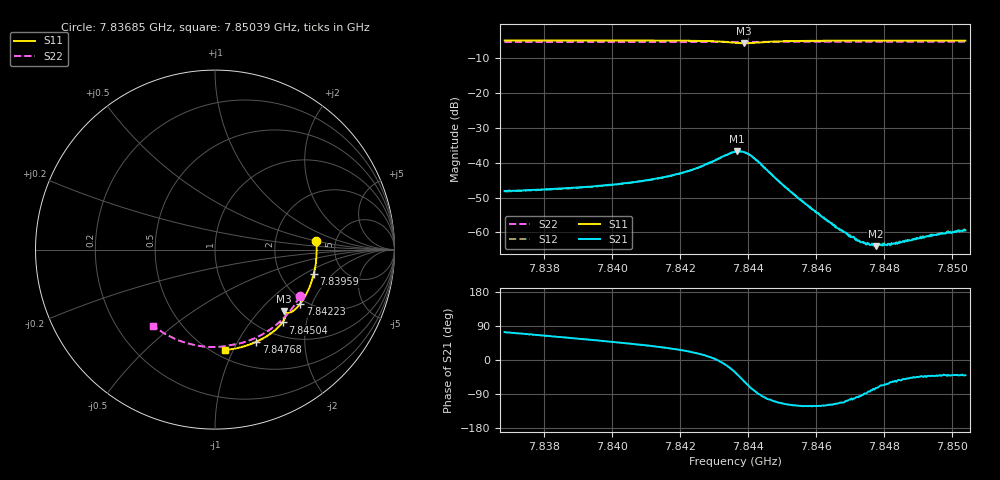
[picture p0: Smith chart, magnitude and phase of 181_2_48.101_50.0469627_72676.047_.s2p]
#  HZ  S  RI  R  50.00
! Rohde & Schwarz Vector Network Analyzer
! Rohde-Schwarz,ZNB20-2Port,1311601062101988,3.16
! Created: UTC 12/23/2023, 3:52:45 AM
! freq[Hz]  re:S11  im:S11  re:S21  im:S21  re:S12  im:S12  re:S22  im:S22
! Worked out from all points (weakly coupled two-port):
!   401 points, 7.83685 GHz to 7.85039 GHz, reference 50 ohm
!   highest |S21| = -36.68 dB at 7.84369 GHz (marker M1); lowest = -63.9 dB at 7.84775 GHz (marker M2)
!   lowest |S11| = -5.7 dB at 7.84389 GHz (marker M3), VSWR 3.14, Z = 73.7 - j69.3 ohm
!   |S11| at or under -10 dB: nowhere
!   |S22| runs from -5.4 to -5.3 dB; largest |S21 - S12| = 0.00031
!   S11 on the Smith chart (normalised r, x): 7.83685 GHz: 3.54, +0.48; 7.83959 GHz: 3.07, -1.23; 7.84223 GHz: 1.86, -1.65; 7.84504 GHz: 1.25, -1.47; 7.84768 GHz: 0.80, -1.20; 7.85039 GHz: 0.57, -0.93
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7.836853e9  0.5643 0.0456  0.0011 0.00377  0.0012 0.00369  0.4722 -0.261
7.83912e9  0.5571 -0.1048  0.00254 0.00367  0.00249 0.00361  0.3766 -0.3873
7.839594e9  0.5502 -0.136  0.00288 0.00366  0.00285 0.00359  0.3522 -0.4099
7.840609e9  0.5295 -0.2014  0.00387 0.00354  0.00381 0.00355  0.2954 -0.453
7.841387e9  0.5072 -0.2502  0.00497 0.0034  0.00491 0.00339  0.2485 -0.4808
7.842233e9  0.4749 -0.3016  0.00697 0.00296  0.00695 0.00296  0.1941 -0.5052
7.843113e9  0.425 -0.3475  0.0113 -0.000146  0.0112 -9.68e-05  0.135 -0.5235
7.843621e9  0.3897 -0.3514  0.0122 -0.00762  0.0122 -0.00767  0.101 -0.5296
7.843688e9  0.3868 -0.3494  0.0115 -0.00912  0.0114 -0.00894  0.0968 -0.5304
7.843891e9  0.385 -0.3447  0.00773 -0.0119  0.00788 -0.0117  0.084 -0.5324
7.84406e9  0.3888 -0.3455  0.0041 -0.0122  0.0041 -0.0122  0.0731 -0.5345
7.84423e9  0.3928 -0.3522  0.0012 -0.011  0.00118 -0.011  0.062 -0.5368
7.845042e9  0.3761 -0.4056  -0.002 -0.00429  -0.00202 -0.0043  0.00538 -0.5425
7.845888e9  0.334 -0.4495  -0.00114 -0.00181  -0.00113 -0.00184  -0.0543 -0.5408
7.846666e9  0.2903 -0.4812  -0.000469 -0.00104  -0.000471 -0.00105  -0.1086 -0.5331
7.847004e9  0.2706 -0.4932  -0.000213 -0.000847  -0.000226 -0.000886  -0.1317 -0.5281
7.847275e9  0.2544 -0.5019  -6.74e-05 -0.000747  -4.52e-05 -0.000764  -0.1501 -0.5233
7.847681e9  0.2299 -0.5138  0.000161 -0.000648  0.000144 -0.00064  -0.1774 -0.515
7.847749e9  0.2257 -0.5157  0.000173 -0.000615  0.000148 -0.000633  -0.1819 -0.5133
7.848155e9  0.2005 -0.526  0.000343 -0.000596  0.000341 -0.000581  -0.2086 -0.5034
7.849407e9  0.1204 -0.5499  0.000701 -0.000617  0.000662 -0.000602  -0.2869 -0.4641
7.850388e9  0.056 -0.5596  0.000816 -0.000692  0.000818 -0.000715  -0.3434 -0.4248
